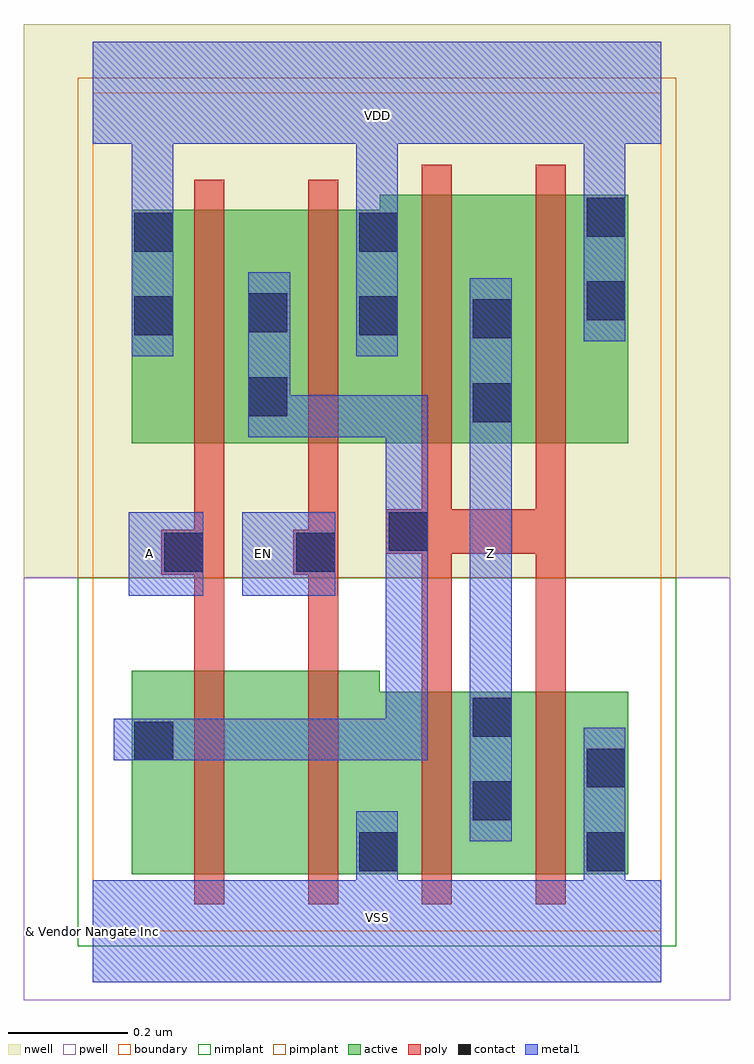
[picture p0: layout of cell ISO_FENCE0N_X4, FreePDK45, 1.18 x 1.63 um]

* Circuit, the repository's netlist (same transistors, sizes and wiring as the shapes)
* 
* ******************************************************************************
* *                                                                            *
* *                   Copyright (C) 2004-2011, Nangate Inc.                    *
* *                           All rights reserved.                             *
* *                                                                            *
* * Nangate and the Nangate logo are trademarks of Nangate Inc.                *
* *                                                                            *
* * All trademarks, logos, software marks, and trade names (collectively the   *
* * "Marks") in this program are proprietary to Nangate or other respective    *
* * owners that have granted Nangate the right and license to use such Marks.  *
* * You are not permitted to use the Marks without the prior written consent   *
* * of Nangate or such third party that may own the Marks.                     *
* *                                                                            *
* * This file has been provided pursuant to a License Agreement containing     *
* * restrictions on its use. This file contains valuable trade secrets and     *
* * proprietary information of Nangate Inc., and is protected by U.S. and      *
* * international laws and/or treaties.                                        *
* *                                                                            *
* * The copyright notice(s) in this file does not indicate actual or intended  *
* * publication of this file.                                                  *
* *                                                                            *
* *     NGLibraryCreator, v2010.08-HR32-SP3-2010-08-05 - build 1009061800      *
* *                                                                            *
* ******************************************************************************
* 
* 
* Running on server08.nangate.com for user Giancarlo Franciscatto (gfr).
* Local time is now Thu, 6 Jan 2011, 19:45:45.
* Main process id is 3320.
*
********************************************************************************
*                                                                              *
* Cellname:   ISO_FENCE0N_X4.                                                  *
*                                                                              *
* Technology: NCSU FreePDK 45nm.                                               *
* Format:     Cdl.                                                             *
*                                                                              *
* Written on server08.nangate.com for user Giancarlo Franciscatto (gfr)        *
* at 19:45:45 on Thu, 6 Jan 2011.                                              *
*                                                                              *
********************************************************************************
.SUBCKT ISO_FENCE0N_X4 A EN Z VDD VSS 
*.PININFO A:I EN:I Z:O VDD:P VSS:G 
*.EQN Z=(A * EN)
M_i_0 net_001 A net_000 VSS NMOS_VTL W=0.340000U L=0.050000U
M_i_5 VSS EN net_001 VSS NMOS_VTL W=0.340000U L=0.050000U
M_i_11 Z net_000 VSS VSS NMOS_VTL W=0.305000U L=0.050000U
M_i_17 VSS net_000 Z VSS NMOS_VTL W=0.305000U L=0.050000U
M_i_23 net_000 A VDD VDD PMOS_VTL W=0.390000U L=0.050000U
M_i_30 VDD EN net_000 VDD PMOS_VTL W=0.390000U L=0.050000U
M_i_36 Z net_000 VDD VDD PMOS_VTL W=0.415000U L=0.050000U
M_i_42 VDD net_000 Z VDD PMOS_VTL W=0.415000U L=0.050000U
.ENDS 

********************************************************************************
*
* END
*
********************************************************************************

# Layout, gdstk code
import gdstk
lib = gdstk.Library(unit=1e-6, precision=1e-10)
def R(c, l, rs):  # rectangles x0, y0, x1, y1
    for r in rs: c.add(gdstk.rectangle(r[:2], r[2:], *l))
def P(c, l, *ps):  # polygons
    for p in ps: c.add(gdstk.Polygon(p, *l))
active = (1, 0)
pwell = (2, 0)
nwell = (3, 0)
nimplant = (4, 0)
pimplant = (5, 0)
poly = (9, 0)
contact = (10, 0)
metal1 = (11, 0)
boundary = (235, 0)

iso_fence0n_x4 = lib.new_cell('ISO_FENCE0N_X4')
P(iso_fence0n_x4, active, [(0.065,0.095),(0.895,0.095),(0.895,0.4),(0.48,0.4),(0.48,0.435),(0.065,0.435)],
  [(0.065,0.815),(0.895,0.815),(0.895,1.23),(0.48,1.23),(0.48,1.205),(0.065,1.205)])
R(iso_fence0n_x4, pwell, [(-0.115,-0.115,1.065,0.59)])
R(iso_fence0n_x4, nwell, [(-0.115,0.59,1.065,1.515)])
R(iso_fence0n_x4, nimplant, [(-0.025,-0.025,0.975,0.59)])
R(iso_fence0n_x4, pimplant, [(-0.025,0.59,0.975,1.425)])
P(iso_fence0n_x4, poly, [(0.115,0.595),(0.17,0.595),(0.17,0.045),(0.22,0.045),(0.22,1.255),(0.17,1.255),(0.17,0.67),(0.115,0.67)],
  [(0.335,0.595),(0.36,0.595),(0.36,0.045),(0.41,0.045),(0.41,1.255),(0.36,1.255),(0.36,0.67),(0.335,0.67)],
  [(0.49,0.63),(0.55,0.63),(0.55,0.045),(0.6,0.045),(0.6,0.63),(0.74,0.63),(0.74,0.045),(0.79,0.045),(0.79,1.28),(0.74,1.28),(0.74,0.705),(0.6,0.705),(0.6,1.28),(0.55,1.28),(0.55,0.705),(0.49,0.705)])
R(iso_fence0n_x4, contact, [(0.445,0.1,0.51,0.165), (0.825,0.1,0.89,0.165), (0.635,0.185,0.7,0.25), (0.825,0.24,0.89,0.305), (0.07,0.285,0.135,0.35), (0.635,0.325,0.7,0.39), (0.12,0.6,0.185,0.665), (0.34,0.6,0.405,0.665), (0.495,0.635,0.56,0.7), (0.635,0.85,0.7,0.915), (0.26,0.86,0.325,0.925), (0.635,0.99,0.7,1.055), (0.07,0.995,0.135,1.06), (0.445,0.995,0.51,1.06), (0.26,1,0.325,1.065), (0.825,1.02,0.89,1.085), (0.07,1.135,0.135,1.2), (0.445,1.135,0.51,1.2), (0.825,1.16,0.89,1.225)])
R(iso_fence0n_x4, metal1, [(0.63,0.15,0.7,1.09), (0.06,0.56,0.185,0.7), (0.25,0.56,0.405,0.7)])
P(iso_fence0n_x4, metal1, [(0,-0.085),(0.95,-0.085),(0.95,0.085),(0.89,0.085),(0.89,0.34),(0.82,0.34),(0.82,0.085),(0.51,0.085),(0.51,0.2),(0.44,0.2),(0.44,0.085),(0,0.085)],
  [(0,1.315),(0.065,1.315),(0.065,0.96),(0.135,0.96),(0.135,1.315),(0.44,1.315),(0.44,0.96),(0.51,0.96),(0.51,1.315),(0.82,1.315),(0.82,0.985),(0.89,0.985),(0.89,1.315),(0.95,1.315),(0.95,1.485),(0,1.485)],
  [(0.26,0.825),(0.49,0.825),(0.49,0.355),(0.035,0.355),(0.035,0.285),(0.56,0.285),(0.56,0.895),(0.33,0.895),(0.33,1.1),(0.26,1.1)])
R(iso_fence0n_x4, boundary, [(0,0,0.95,1.4)])
iso_fence0n_x4.add(gdstk.Label('A', (0.095,0.63), layer=11, texttype=0))
iso_fence0n_x4.add(gdstk.Label('EN', (0.285,0.63), layer=11, texttype=0))
iso_fence0n_x4.add(gdstk.Label('VDD', (0.475,1.3625), layer=11, texttype=0))
iso_fence0n_x4.add(gdstk.Label('VSS', (0.475,0.0225), layer=11, texttype=0))
iso_fence0n_x4.add(gdstk.Label('Z', (0.665,0.63), layer=11, texttype=0))
iso_fence0n_x4.add(gdstk.Label('& Vendor Nangate Inc', (0,0), layer=63, texttype=63))
iso_fence0n_x4.add(gdstk.Label('& Product Open Cell Library', (0,0), layer=63, texttype=63))
iso_fence0n_x4.add(gdstk.Label('& Version 2010_12', (0,0), layer=63, texttype=63))
iso_fence0n_x4.add(gdstk.Label('& Instance ISO_FENCE0N_X4', (0,0), layer=63, texttype=63))

lib.write_gds('ISO_FENCE0N_X4.gds')
